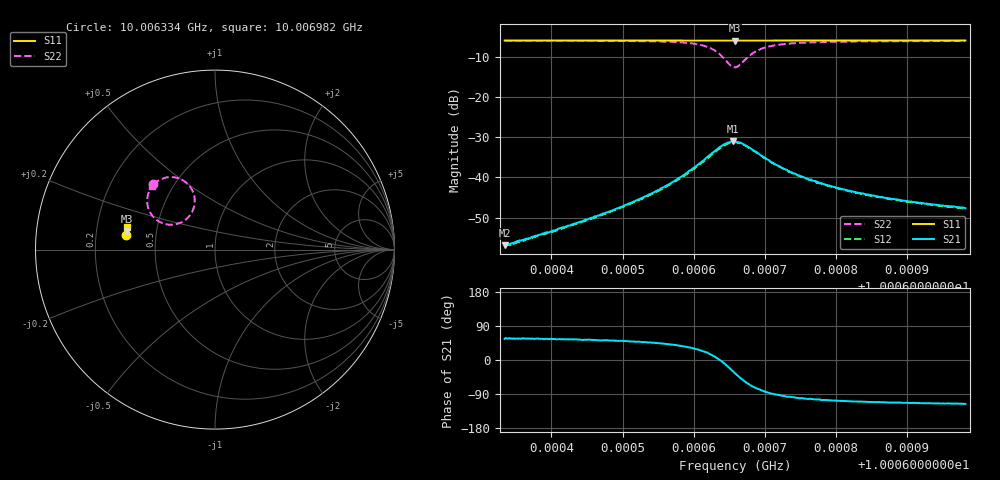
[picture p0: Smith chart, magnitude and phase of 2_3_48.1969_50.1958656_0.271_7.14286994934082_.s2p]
#  HZ  S  RI  R  50.00
! Rohde & Schwarz Vector Network Analyzer
! Rohde-Schwarz,ZNB20-2Port,1311601062101988,3.16
! Created: UTC 3/20/2024, 11:36:05 AM
! freq[Hz]  re:S11  im:S11  re:S21  im:S21  re:S12  im:S12  re:S22  im:S22
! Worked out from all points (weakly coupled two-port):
!   401 points, 10.006334 GHz to 10.006982 GHz, reference 50 ohm
!   highest |S21| = -31.08 dB at 10.006655 GHz (marker M1); lowest = -56.9 dB at 10.006334 GHz (marker M2)
!   lowest |S11| = -6.0 dB at 10.006658 GHz (marker M3), VSWR 3.00, Z = 16.8 + j4.65 ohm
!   |S11| at or under -10 dB: nowhere
!   |S22| runs from -12.6 to -6.0 dB; largest |S21 - S12| = 0.0022
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1.0006334e10  -0.4953 0.0837  0.000802 0.00118  0.000716 0.0012  -0.3444 0.3629
1.00063583e10  -0.4951 0.0854  0.000895 0.00139  0.000824 0.00138  -0.3417 0.3653
1.00064426e10  -0.4942 0.0911  0.00169 0.00225  0.00154 0.00231  -0.3285 0.3761
1.00064961e10  -0.4937 0.0945  0.00269 0.00328  0.00248 0.00331  -0.3146 0.3854
1.00065512e10  -0.4929 0.0984  0.005 0.0049  0.00466 0.00502  -0.2865 0.3978
1.00065853e10  -0.4921 0.1007  0.00853 0.00624  0.00799 0.00644  -0.2497 0.4042
1.00066177e10  -0.491 0.1029  0.0164 0.00609  0.0155 0.00648  -0.1772 0.3853
1.00066291e10  -0.4904 0.1036  0.0207 0.00347  0.0198 0.00441  -0.1417 0.354
1.00066404e10  -0.4896 0.1037  0.0248 -0.00208  0.024 -0.000357  -0.1148 0.2947
1.00066485e10  -0.4894 0.1037  0.0258 -0.00836  0.0255 -0.00636  -0.1172 0.2366
1.0006655e10  -0.4894 0.1036  0.0243 -0.0137  0.0246 -0.0115  -0.14 0.1906
1.00066582e10  -0.4892 0.1035  0.0227 -0.016  0.0233 -0.014  -0.1578 0.1716
1.00066631e10  -0.4894 0.1034  0.02 -0.0187  0.0208 -0.0169  -0.1902 0.1506
1.00066728e10  -0.4899 0.1037  0.0134 -0.0213  0.0146 -0.0199  -0.2575 0.139
1.00066858e10  -0.4906 0.1045  0.00643 -0.0203  0.00765 -0.0196  -0.3224 0.163
1.00066988e10  -0.4909 0.1053  0.00231 -0.0178  0.00321 -0.0172  -0.3555 0.1972
1.00067134e10  -0.491 0.1065  -4.42e-05 -0.0149  0.000802 -0.0147  -0.3714 0.2299
1.00067344e10  -0.4909 0.1081  -0.0014 -0.0119  -0.000826 -0.0116  -0.3778 0.2632
1.00067669e10  -0.4908 0.1105  -0.00204 -0.00897  -0.00167 -0.00892  -0.3761 0.2937
1.00068204e10  -0.4901 0.1141  -0.00219 -0.00639  -0.00188 -0.00639  -0.3686 0.3202
1.00068755e10  -0.4895 0.1177  -0.00209 -0.00507  -0.00178 -0.00505  -0.3616 0.3351
1.00069825e10  -0.4878 0.1246  -0.00179 -0.00372  -0.00158 -0.00381  -0.3513 0.3518
